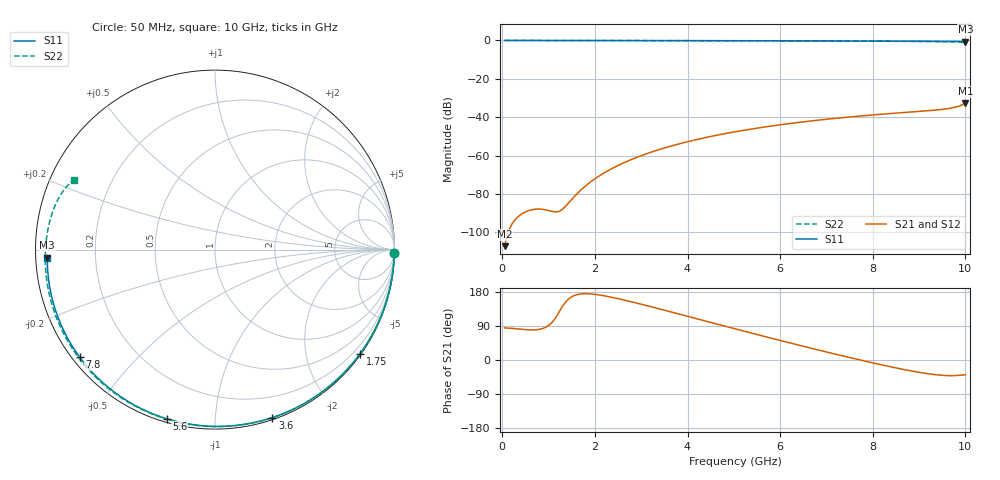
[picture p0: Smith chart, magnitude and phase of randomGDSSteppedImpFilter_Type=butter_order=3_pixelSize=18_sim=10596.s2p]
! freq	dB(S11)	phase(S11)	dB(S12)	phase(S12)
!  dB(S21)	phase(S21)	dB(S22)	phase(S22)
!S-par simulation data
#  GHz  S  DB  R 50
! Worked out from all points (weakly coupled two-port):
!   200 points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, 50 MHz to 10 GHz, reference 50 ohm
!   highest |S21| = -32.68 dB at 10 GHz (marker M1); lowest = -107.2 dB at 50 MHz (marker M2)
!   lowest |S11| = -0.6 dB at 10 GHz (marker M3), VSWR 29.93, Z = 1.67 - j1.19 ohm
!   |S11| at or under -10 dB: nowhere
!   |S22| runs from -1.2 to 0.0 dB; largest |S21 - S12| = 0
!   S11 on the Smith chart (normalised r, x): 50 MHz: open; 1.75 GHz: 0.03, -3.10; 3.6 GHz: 0.02, -1.40; 5.6 GHz: 0.02, -0.75; 7.8 GHz: 0.02, -0.35; 10 GHz: 0.03, -0.02
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0.05  -0.01 -1.0  -107.17 84.9  -107.17 84.9  -0.01 -1.2
0.4  -0.01 -8.3  -90.70 81.1  -90.70 81.1  -0.02 -9.5
0.8  -0.02 -16.5  -87.83 80.9  -87.83 80.9  -0.02 -19.0
1.6  -0.04 -32.7  -80.21 172.0  -80.21 172.0  -0.05 -37.6
1.75  -0.05 -35.7  -76.77 174.8  -76.77 174.8  -0.05 -41.0
2.05  -0.05 -41.7  -71.25 172.4  -71.25 172.4  -0.06 -47.7
2.45  -0.06 -49.5  -65.71 163.3  -65.71 163.3  -0.07 -56.6
2.9  -0.08 -58.1  -60.94 150.3  -60.94 150.3  -0.09 -66.3
3.4  -0.09 -67.4  -56.76 134.6  -56.76 134.6  -0.10 -76.8
3.6  -0.10 -71.1  -55.32 128.2  -55.32 128.2  -0.11 -80.9
4.3  -0.12 -83.7  -51.06 105.6  -51.06 105.6  -0.13 -94.9
5.05  -0.15 -96.7  -47.48 81.5  -47.48 81.5  -0.16 -109.3
5.6  -0.17 -106.0  -45.32 64.0  -45.32 64.0  -0.19 -119.5
6.7  -0.24 -124.0  -41.85 30.1  -41.85 30.1  -0.26 -139.4
7.25  -0.28 -132.8  -40.44 13.7  -40.44 13.7  -0.31 -149.3
7.8  -0.33 -141.6  -39.21 -2.1  -39.21 -2.1  -0.36 -159.1
8.35  -0.38 -150.3  -38.13 -17.0  -38.13 -17.0  -0.42 -169.2
8.9  -0.44 -159.2  -37.15 -30.4  -37.15 -30.4  -0.49 -179.6
9.4  -0.50 -167.3  -36.17 -39.4  -36.17 -39.4  -0.60 170.0
9.75  -0.54 -173.1  -34.95 -41.2  -34.95 -41.2  -0.76 161.5
9.9  -0.57 -175.6  -33.87 -40.1  -33.87 -40.1  -0.93 157.1
10  -0.58 -177.3  -32.68 -39.1  -32.68 -39.1  -1.17 153.6
